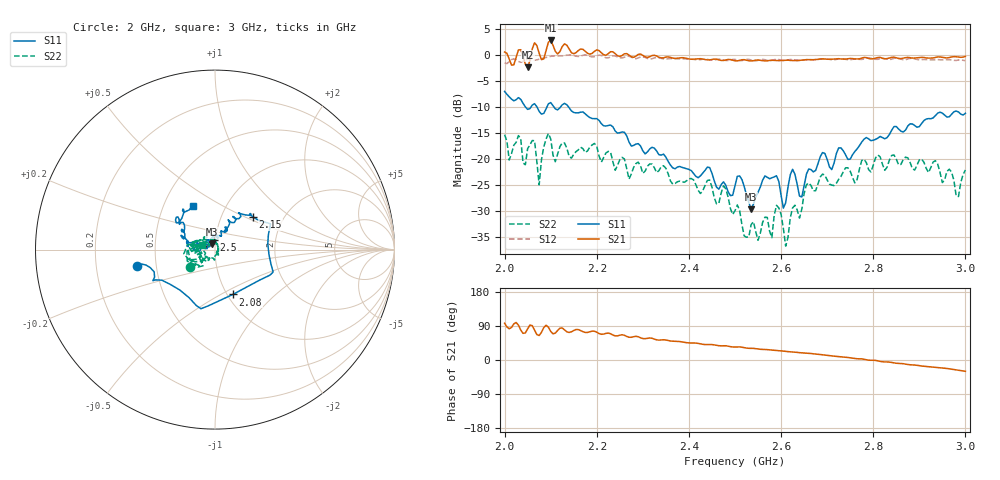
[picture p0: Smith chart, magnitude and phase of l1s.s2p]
# Hz S DB R 50
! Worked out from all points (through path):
!   201 points, 2 GHz to 3 GHz, reference 50 ohm
!   highest |S21| = 2.73 dB at 2.1 GHz (marker M1); lowest = -2.5 dB at 2.05 GHz (marker M2)
!   group delay of S21, straight-line fit = 327 ps
!   lowest |S11| = -29.6 dB at 2.535 GHz (marker M3), VSWR 1.07, Z = 48.5 + j2.87 ohm
!   |S11| at or under -10 dB: 2.045 GHz to 2.058 GHz (12.61 MHz wide, 0.615 % of centre); 2.07 GHz to 2.092 GHz (21.95 MHz wide, 1.05 % of centre); 2.139 GHz to end of sweep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
!   |S22| runs from -36.7 to -15.1 dB; largest |S21 - S12| = 0.56
!   S11 on the Smith chart (normalised r, x): 2 GHz: 0.39, -0.09; 2.08 GHz: 1.06, -0.57; 2.15 GHz: 1.41, +0.56; 2.5 GHz: 0.98, +0.11; 3 GHz: 0.70, +0.37
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2e9  -7.05 -168.4  0.52 97.0  -1.61 103.0  -15.35 -144.6
2.01e9  -8.09 -167.4  -0.82 82.5  -1.34 106.4  -20.22 -147.9
2.025e9  -8.63 -155.4  -0.50 99.0  -0.97 99.4  -16.84 -145.6
2.04e9  -9.32 -150.1  -0.26 70.4  -1.27 99.8  -20.77 -177.5
2.05e9  -10.50 -131.1  -2.45 82.3  -0.92 97.0  -18.01 -135.0
2.065e9  -9.41 -103.4  2.29 78.5  -1.08 92.4  -16.51 -178.3
2.075e9  -10.89 -84.9  0.27 64.7  -0.86 91.7  -24.98 -159.7
2.08e9  -11.41 -68.1  -0.95 73.0  -0.75 90.5  -20.16 -139.6
2.09e9  -10.40 -34.0  0.79 91.7  -0.55 89.0  -16.19 -158.8
2.1e9  -9.19 -21.1  2.73 75.6  -0.32 87.3  -16.14 169.4
2.15e9  -11.09 40.7  0.19 77.8  -0.14 80.4  -19.11 -179.1
2.17e9  -10.99 44.7  1.03 74.6  -0.12 79.4  -18.02 163.3
2.335e9  -19.20 65.0  -0.51 52.4  -0.59 55.2  -22.24 138.1
2.5e9  -25.15 97.1  -1.17 34.3  -0.91 34.7  -29.93 73.0
2.535e9  -29.63 116.3  -1.21 30.7  -1.02 30.3  -32.62 48.2
2.58e9  -23.62 137.1  -1.07 26.0  -1.10 26.4  -35.11 -31.8
2.59e9  -23.23 159.3  -1.13 25.2  -0.88 25.0  -28.90 -60.7
2.61e9  -28.41 144.5  -1.05 22.7  -1.09 22.3  -36.74 -35.6
2.67e9  -22.49 167.3  -0.97 16.3  -0.97 14.7  -26.12 -98.6
2.835e9  -15.33 160.2  -0.64 -5.5  -0.93 -7.9  -20.25 -178.4
2.985e9  -10.99 129.9  -0.44 -26.9  -1.02 -30.7  -27.21 139.1
3e9  -11.26 116.4  -0.33 -29.8  -1.15 -31.7  -22.13 161.4
